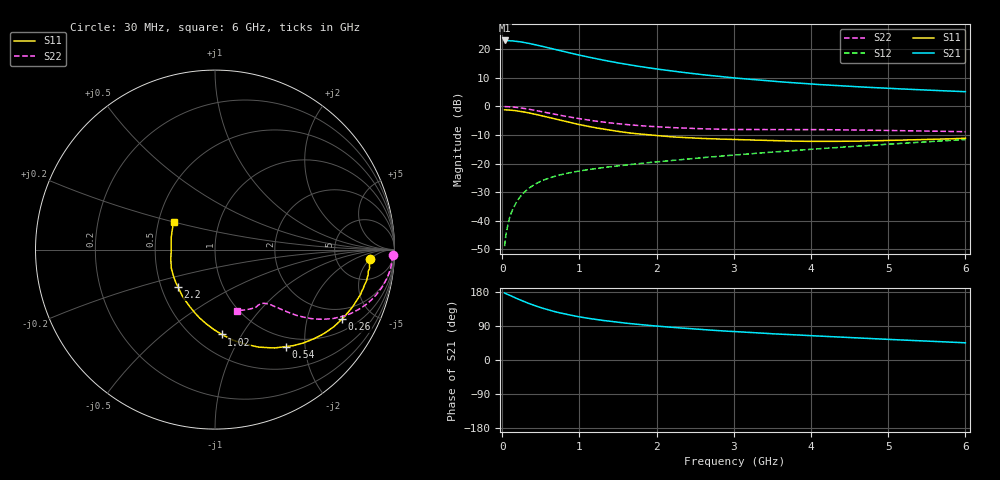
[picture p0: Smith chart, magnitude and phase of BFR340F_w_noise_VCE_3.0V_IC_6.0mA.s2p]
! Infineon Technologies  Discrete & RF Semiconductors
! BFR340F
! VCE =  3.0 V,  IC =  6.0 mA
! Common Emitter S-Parameters:  Nov 2015
# GHz  S  MA  R  50
!  f  S11  S21  S12  S22
! GHz  MAG  ANG  MAG  ANG  MAG  ANG  MAG  ANG
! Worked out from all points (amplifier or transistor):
!   206 points, 30 MHz to 6 GHz, reference 50 ohm
!   highest |S21| = 23.0 dB at 30 MHz (marker M1)
!   |S21| within 3 dB of that: start of sweep to 661.9 MHz
!   unconditionally stable (mu >= 1): 2.864 GHz to 5.829 GHz
!   at 200 MHz: K = 0.14, MSG = 27.7 dB, |S12| = -32.8 dB
!   at 1.56 GHz: K = 0.79, MSG = 17.8 dB, |S12| = -20.6 dB
!   at 6 GHz: K = 0.99, MSG = 8.4 dB, |S12| = -11.6 dB
!   lowest NFmin = 1.38 dB at 1.9 GHz
!   S11 on the Smith chart (normalised r, x): 30 MHz: 12, -5; 260 MHz: 1.48, -3.29; 540 MHz: 0.84, -1.64; 1.02 GHz: 0.67, -0.82; 2.2 GHz: 0.61, -0.28; 6 GHz: 0.60, +0.20
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0.03  0.8672 -3.4  14.19 177.1  0.0036 87.5  0.9898 -1.8
0.05  0.8642 -5.6  14.08 174.6  0.006 87.4  0.9885 -3.2
0.07  0.8621 -8.1  14.15 172.9  0.0083 85.5  0.9869 -4.5
0.14  0.8497 -15.9  13.92 166.7  0.0164 81.4  0.9726 -9.0
0.195  0.8323 -21.9  13.64 161.6  0.0224 78.5  0.9552 -12.4
0.26  0.8065 -28.7  13.24 156.1  0.0292 75.2  0.9297 -16.1
0.34  0.7709 -36.7  12.65 149.5  0.0366 71.5  0.8931 -20.2
0.4  0.7409 -42.2  12.16 145.0  0.0417 69.0  0.8636 -22.9
0.54  0.669 -53.9  11 135.7  0.0517 64.5  0.7935 -28.1
0.68  0.6029 -64.5  9.906 127.6  0.0599 61.3  0.7279 -32.2
0.8  0.5516 -72.6  9.048 121.8  0.0659 59.4  0.6778 -34.8
1.02  0.4739 -85.5  7.747 113.2  0.0749 57.3  0.6029 -38.0
1.04  0.468 -86.5  7.642 112.5  0.0757 57.2  0.5972 -38.3
1.2  0.4244 -95.0  6.875 107.3  0.0814 56.5  0.5546 -39.9
1.42  0.3794 -105.3  6.019 101.4  0.0888 56.3  0.51 -41.5
1.68  0.3391 -116.4  5.235 95.6  0.0972 56.6  0.4719 -43.1
2.02  0.3062 -128.7  4.467 89.2  0.1079 57.5  0.4387 -44.6
2.2  0.2929 -135.1  4.14 86.2  0.1138 57.9  0.4257 -45.5
3.1  0.261 -159.3  3.064 74.0  0.1444 60.0  0.3938 -50.4
4.1  0.244 -179.0  2.409 63.2  0.1815 61.2  0.3923 -55.1
5.1  0.2548 162.2  2.037 53.5  0.2225 61.1  0.3776 -62.5
6  0.2769 146.5  1.806 45.4  0.2635 60.1  0.3606 -70.3
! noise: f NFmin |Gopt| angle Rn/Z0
1.9  1.38  0.38  10  0.46
